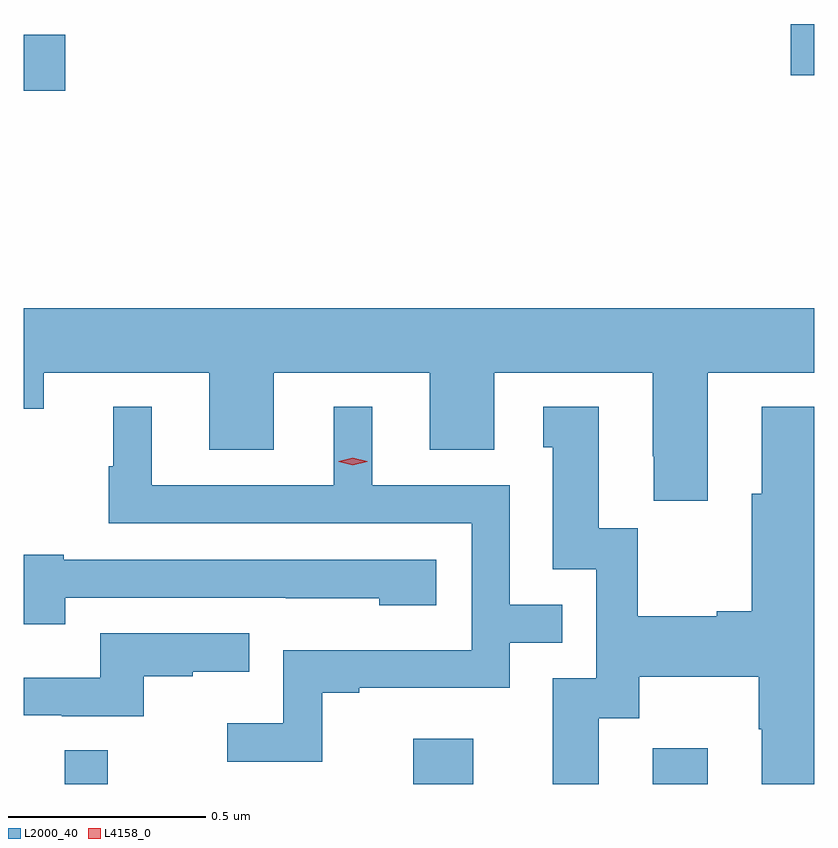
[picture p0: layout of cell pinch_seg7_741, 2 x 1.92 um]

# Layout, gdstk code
import gdstk
lib = gdstk.Library(unit=1e-6, precision=1e-09)
def R(c, l, rs):  # rectangles x0, y0, x1, y1
    for r in rs: c.add(gdstk.rectangle(r[:2], r[2:], *l))
def P(c, l, *ps):  # polygons
    for p in ps: c.add(gdstk.Polygon(p, *l))
L2000_40 = (2000, 40)
L4158_0 = (4158, 0)

pinch_seg7_741 = lib.new_cell('pinch_seg7_741')
R(pinch_seg7_741, L2000_40, [(291.384,1003.572,291.493,1003.658), (292.265,1003.572,292.417,1003.687), (292.871,1003.572,293.011,1003.663), (291.28,1005.326,291.385,1005.468), (293.22,1005.365,293.28,1005.495)])
P(pinch_seg7_741, L2000_40, [(293.011,1004.612),(293.28,1004.612),(293.28,1004.776),(291.28,1004.776),(291.28,1004.522),(291.331,1004.522),(291.331,1004.612),(291.749,1004.612),(291.749,1004.418),(291.913,1004.418),(291.913,1004.612),(292.307,1004.612),(292.307,1004.418),(292.471,1004.418),(292.471,1004.612),(292.871,1004.612),(292.871,1004.401),(292.874,1004.401),(292.874,1004.289),(293.011,1004.289)],
  [(292.735,1003.738),(292.837,1003.738),(292.837,1003.844),(293.14,1003.844),(293.14,1003.71),(293.147,1003.71),(293.147,1003.572),(293.28,1003.572),(293.28,1004.527),(293.147,1004.527),(293.147,1004.307),(293.122,1004.307),(293.122,1004.009),(293.033,1004.009),(293.033,1003.996),(292.833,1003.996),(292.833,1004.219),(292.735,1004.219),(292.735,1004.527),(292.595,1004.527),(292.595,1004.424),(292.619,1004.424),(292.619,1004.115),(292.728,1004.115),(292.728,1003.839),(292.619,1003.839),(292.619,1003.572),(292.735,1003.572)],
  [(292.035,1003.803),(292.129,1003.803),(292.129,1003.815),(292.509,1003.815),(292.509,1003.929),(292.643,1003.929),(292.643,1004.025),(292.509,1004.025),(292.509,1004.328),(292.162,1004.328),(292.162,1004.527),(292.064,1004.527),(292.064,1004.328),(291.604,1004.328),(291.604,1004.527),(291.506,1004.527),(291.506,1004.376),(291.495,1004.376),(291.495,1004.232),(292.413,1004.232),(292.413,1003.911),(291.936,1003.911),(291.936,1003.726),(291.795,1003.726),(291.795,1003.628),(292.035,1003.628)],
  [(291.385,1004.043),(291.943,1004.043),(291.943,1004.042),(292.179,1004.042),(292.179,1004.024),(292.324,1004.024),(292.324,1004.139),(291.381,1004.139),(291.381,1004.152),(291.28,1004.152),(291.28,1003.976),(291.385,1003.976)],
  [(291.584,1003.845),(291.707,1003.845),(291.707,1003.856),(291.851,1003.856),(291.851,1003.953),(291.474,1003.953),(291.474,1003.841),(291.28,1003.841),(291.28,1003.746),(291.376,1003.746),(291.376,1003.743),(291.584,1003.743)])
P(pinch_seg7_741, L4158_0, [(292.113,1004.378),(292.077,1004.388),(292.077,1004.388),(292.077,1004.389),(292.113,1004.398),(292.149,1004.389),(292.149,1004.388),(292.149,1004.388)])

lib.write_gds('pinch_seg7_741.gds')
